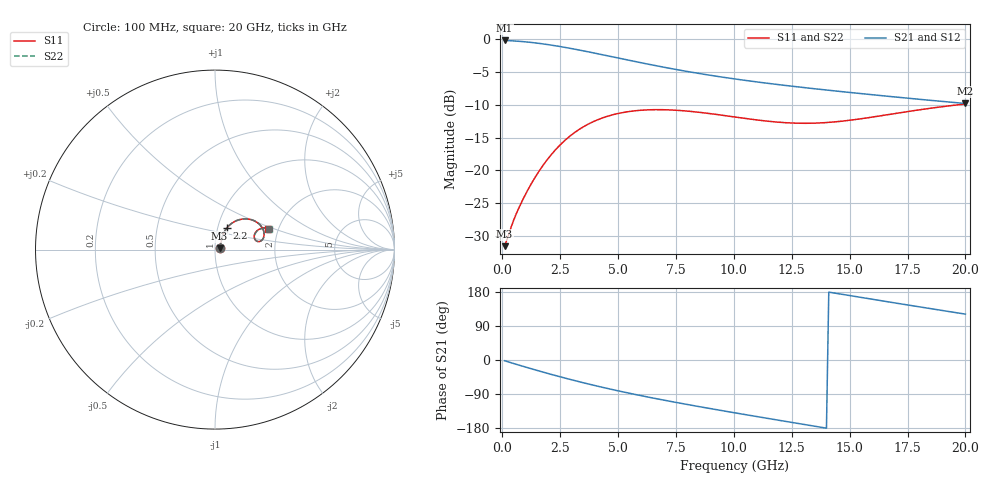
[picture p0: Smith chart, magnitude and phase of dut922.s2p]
! Touchstone file exported from HFSS 2024.1.0
!  File:  C:/UserFiles/LocalFiles/RDL_TSV_Batchsim/temp_RDL_TSV_922_1779958601.aedt
!  Generated:  05:10:15 PM May 28, 2026
!  Design:  RDL_TSV
!  Project:  temp_RDL_TSV_922_1779958601
!  Setup:  Setup1
!  Solution:  Sweep
! Variables:
!  dtsv = 7.78um
!  hbump = 3um
!  htsv = 56.77um
!  ldown = 653.33um
!  lrdl = 458.46um
!  p = 40
!  p1 = 44.26um
!  rhole = 10um
!  subl = 3793.83um
!  t = 450um
!  tdown = 3.21um
!  trdl = 2.25um
!  viad = 10um
!  wdown = 15.13um
!  wrdl = 26.71um
!  xbump = 18um
# GHz S MA R 50.000000
! Terminal data exported
! Port[1] = TM1_1_T1
! Port[2] = TM1_4_T1
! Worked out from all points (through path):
!   200 points, 100 MHz to 20 GHz, reference 50 ohm
!   highest |S21| = -0.23 dB at 100 MHz (marker M1); lowest = -9.8 dB at 20 GHz (marker M2)
!   group delay of S21, straight-line fit = 31.6 ps
!   lowest |S11| = -31.5 dB at 100 MHz (marker M3), VSWR 1.05, Z = 52.6 + j0.698 ohm
!   |S11| at or under -10 dB: start of sweep to 19.73 GHz
!   |S22| runs from -31.5 to -9.9 dB; largest |S21 - S12| = 1.4e-14
!   S11 on the Smith chart (normalised r, x): 100 MHz: 1.05, +0.01; 2.2 GHz: 1.11, +0.27; 20 GHz: 1.77, +0.46
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0.1  0.02652 14.5  0.9742 -1.9  0.9742 -1.9  0.02652 14.5
! Gamma 0 0 0 0
! Port Impedance 50 0 50 0
0.5  0.04217 44.0  0.9662 -9.5  0.9662 -9.5  0.04216 44.0
0.7  0.05112 50.5  0.9607 -13.2  0.9607 -13.2  0.05111 50.5
1  0.06567 56.9  0.9508 -18.6  0.9508 -18.6  0.06566 56.9
1.6  0.09949 62.1  0.9252 -29.2  0.9252 -29.2  0.09953 62.2
2.2  0.1373 61.3  0.8933 -39.4  0.8933 -39.4  0.1374 61.4
2.8  0.175 57.3  0.8571 -49.2  0.8571 -49.2  0.1753 57.4
3.5  0.2145 50.9  0.8122 -60.1  0.8122 -60.1  0.2149 51.0
4.2  0.2461 43.9  0.7668 -70.3  0.7668 -70.3  0.2466 44.0
4.9  0.2686 37.1  0.7227 -80.0  0.7227 -80.0  0.2693 37.3
5.8  0.285 29.3  0.6699 -91.7  0.6699 -91.7  0.2859 29.4
6.8  0.2899 22.0  0.6179 -103.8  0.6179 -103.8  0.291 22.1
7.6  0.2862 17.3  0.5817 -113.1  0.5817 -113.1  0.2875 17.5
8.4  0.278 13.8  0.5499 -121.9  0.5499 -121.9  0.2795 13.9
9.2  0.2672 11.5  0.522 -130.6  0.522 -130.6  0.2689 11.6
10.1  0.254 10.3  0.4947 -140.0  0.4947 -140.0  0.2558 10.4
11.7  0.2345 11.9  0.4544 -156.5  0.4544 -156.5  0.2364 11.8
13.4  0.2286 17.2  0.4196 -173.8  0.4196 -173.8  0.2303 16.9
15  0.2406 22.2  0.3918 170.1  0.3918 170.1  0.2419 21.8
16.7  0.2663 24.7  0.3657 153.1  0.3657 153.1  0.2671 24.3
18.3  0.294 24.1  0.3437 137.4  0.3437 137.4  0.2945 23.7
20  0.3198 21.4  0.3229 121.1  0.3229 121.1  0.3201 21.1
